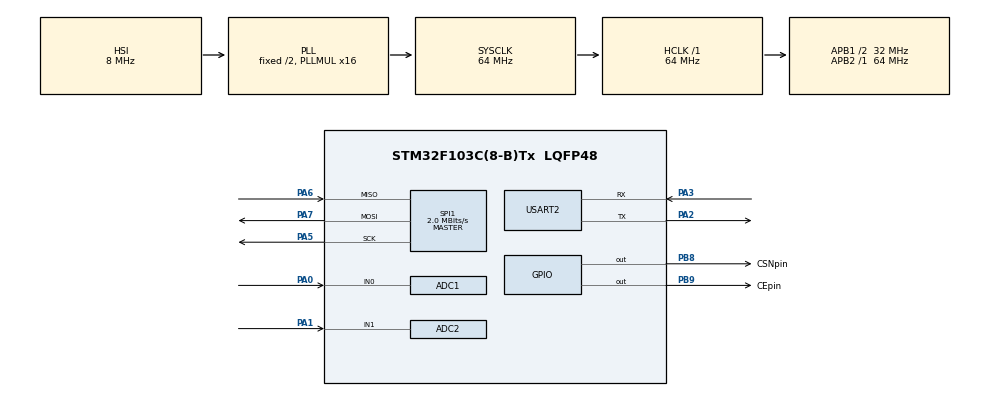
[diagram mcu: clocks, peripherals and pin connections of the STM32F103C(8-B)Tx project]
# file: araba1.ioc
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ADC1.Channel-0\#ChannelRegularConversion=ADC_CHANNEL_0
ADC1.ContinuousConvMode=ENABLE
ADC1.NbrOfConversion=1
ADC1.NbrOfConversionFlag=1
ADC1.Rank-0\#ChannelRegularConversion=1
ADC1.SamplingTime-0\#ChannelRegularConversion=ADC_SAMPLETIME_1CYCLE_5
ADC1.master=1
ADC2.Channel-1\#ChannelRegularConversion=ADC_CHANNEL_1
ADC2.ContinuousConvMode=ENABLE
ADC2.NbrOfConversionFlag=1
ADC2.Rank-1\#ChannelRegularConversion=1
ADC2.SamplingTime-1\#ChannelRegularConversion=ADC_SAMPLETIME_1CYCLE_5
Mcu.Family=STM32F1
Mcu.Name=STM32F103C(8-B)Tx
Mcu.Package=LQFP48
NVIC.PriorityGroup=NVIC_PRIORITYGROUP_4
PA0-WKUP.Signal=ADCx_IN0
PA1.Signal=ADCx_IN1
PA2.Mode=Asynchronous
PA2.Signal=USART2_TX
PA3.Mode=Asynchronous
PA3.Signal=USART2_RX
PA5.Mode=Full_Duplex_Master
PA5.Signal=SPI1_SCK
PA6.Mode=Full_Duplex_Master
PA6.Signal=SPI1_MISO
PA7.Mode=Full_Duplex_Master
PA7.Signal=SPI1_MOSI
PB8.GPIO_Label=CSNpin
PB8.Signal=GPIO_Output
PB9.GPIO_Label=CEpin
PB9.Signal=GPIO_Output
ProjectManager.HeapSize=0x200
ProjectManager.StackSize=0x400
ProjectManager.TargetToolchain=MDK-ARM V5
RCC.ADCPresc=RCC_ADCPCLK2_DIV6
RCC.AHBFreq_Value=64000000
RCC.APB1CLKDivider=RCC_HCLK_DIV2
RCC.APB1Freq_Value=32000000
RCC.APB1TimFreq_Value=64000000
RCC.APB2Freq_Value=64000000
RCC.APB2TimFreq_Value=64000000
RCC.HCLKFreq_Value=64000000
RCC.PLLMUL=RCC_PLL_MUL16
RCC.SYSCLKFreq_VALUE=64000000
RCC.SYSCLKSource=RCC_SYSCLKSOURCE_PLLCLK
RCC.USBFreq_Value=64000000
SH.ADCx_IN0.0=ADC1_IN0,IN0
SH.ADCx_IN1.0=ADC2_IN1,IN1
SPI1.BaudRatePrescaler=SPI_BAUDRATEPRESCALER_32
SPI1.CalculateBaudRate=2.0 MBits/s
SPI1.Direction=SPI_DIRECTION_2LINES
SPI1.Mode=SPI_MODE_MASTER
SPI1.VirtualType=VM_MASTER
USART2.VirtualMode=VM_ASYNC
VP_SYS_VS_ND.Mode=No_Debug
board=custom

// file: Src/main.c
/* USER CODE BEGIN Header */
/**
  ******************************************************************************
  * @file           : main.c
  * @brief          : Main program body
  ******************************************************************************
  * @attention
  *
  * <h2><center>&copy; Copyright (c) 2019 STMicroelectronics.
  * All rights reserved.</center></h2>
  *
  * This software component is licensed by ST under BSD 3-Clause license,
  * the "License"; You may not use this file except in compliance with the
  * License. You may obtain a copy of the License at:
  *                        opensource.org/licenses/BSD-3-Clause
  *
  ******************************************************************************
  */
/* USER CODE END Header */

#include "main.h"

/* USER CODE BEGIN Includes */
#include "MY_NRF24.h"
#include "stm32f1xx_hal.h"
#include <stdio.h>
#include <string.h>

/* USER CODE END Includes */

/* USER CODE BEGIN PD */
 static int16_t pot,potyon;
/* USER CODE END PD */

ADC_HandleTypeDef hadc1;
ADC_HandleTypeDef hadc2;

SPI_HandleTypeDef hspi1;

UART_HandleTypeDef huart2;

void SystemClock_Config(void);
static void MX_GPIO_Init(void);
static void MX_SPI1_Init(void);
static void MX_USART2_UART_Init(void);
static void MX_ADC1_Init(void);
static void MX_ADC2_Init(void);

/* USER CODE BEGIN 0 */
uint64_t TxpipeAddrs = 0x11223344AA;
char myTxData[32],myTx1Data[32]  ;

/* USER CODE END 0 */

int main(void)
{
  /* USER CODE BEGIN 1 */
char data[32];
  /* USER CODE END 1 */

  /* MCU Configuration--------------------------------------------------------*/

  /* Reset of all peripherals, Initializes the Flash interface and the Systick. */
  HAL_Init();

  /* Configure the system clock */
  SystemClock_Config();

  /* Initialize all configured peripherals */
  MX_GPIO_Init();
  MX_SPI1_Init();
  MX_USART2_UART_Init();
  MX_ADC1_Init();
  MX_ADC2_Init();
  /* USER CODE BEGIN 2 */
NRF24_begin(CEpin_GPIO_Port,CSNpin_Pin,CEpin_Pin,hspi1);
nrf24_DebugUART_Init(huart2);

printRadioSettings();
//transmit
NRF24_stopListening();
NRF24_openWritingPipe(TxpipeAddrs);
NRF24_setAutoAck(false);
NRF24_setChannel(52);
NRF24_setPayloadSize(32);
uint64_t saymac;
  /* USER CODE END 2 */

  /* Infinite loop */
  while (1)
  {

    /* USER CODE BEGIN 3 */
		saymac++;
		if(saymac%2==0)
			{

		HAL_ADC_Start(&hadc1);
		pot=HAL_ADC_GetValue(&hadc1);
		sprintf(myTxData,"\f %d \n\r",pot);
		if(NRF24_write(myTxData,32))
		{
			HAL_UART_Transmit(&huart2,(uint8_t*)"Transmit basarili \r\n",strlen("transmit basarili \r\n"),10);
		}
		HAL_Delay(20);
	}
	  else
			{

		HAL_ADC_Start(&hadc2);
		potyon=HAL_ADC_GetValue(&hadc2);
		potyon = -potyon/4;
		sprintf(myTx1Data,"\f %d \n\r",potyon);
		sprintf(data,"\f %d \n\r",potyon);
		if(NRF24_write(myTx1Data,32))
		{
			HAL_UART_Transmit(&huart2,(uint8_t*)data,strlen(data),10);
		}
		HAL_Delay(20);
	}
			if(saymac==4000000)
				saymac=0;
  }
  /* USER CODE END 3 */
}

void SystemClock_Config(void)
{
  RCC_OscInitTypeDef RCC_OscInitStruct = {0};
  RCC_ClkInitTypeDef RCC_ClkInitStruct = {0};
  RCC_PeriphCLKInitTypeDef PeriphClkInit = {0};

  /** Initializes the CPU, AHB and APB busses clocks
  */
  RCC_OscInitStruct.OscillatorType = RCC_OSCILLATORTYPE_HSI;
  RCC_OscInitStruct.HSIState = RCC_HSI_ON;
  RCC_OscInitStruct.HSICalibrationValue = RCC_HSICALIBRATION_DEFAULT;
  RCC_OscInitStruct.PLL.PLLState = RCC_PLL_ON;
  RCC_OscInitStruct.PLL.PLLSource = RCC_PLLSOURCE_HSI_DIV2;
  RCC_OscInitStruct.PLL.PLLMUL = RCC_PLL_MUL16;
  if (HAL_RCC_OscConfig(&RCC_OscInitStruct) != HAL_OK)
  {
    Error_Handler();
  }
  /** Initializes the CPU, AHB and APB busses clocks
  */
  RCC_ClkInitStruct.ClockType = RCC_CLOCKTYPE_HCLK|RCC_CLOCKTYPE_SYSCLK
                              |RCC_CLOCKTYPE_PCLK1|RCC_CLOCKTYPE_PCLK2;
  RCC_ClkInitStruct.SYSCLKSource = RCC_SYSCLKSOURCE_PLLCLK;
  RCC_ClkInitStruct.AHBCLKDivider = RCC_SYSCLK_DIV1;
  RCC_ClkInitStruct.APB1CLKDivider = RCC_HCLK_DIV2;
  RCC_ClkInitStruct.APB2CLKDivider = RCC_HCLK_DIV1;

  if (HAL_RCC_ClockConfig(&RCC_ClkInitStruct, FLASH_LATENCY_2) != HAL_OK)
  {
    Error_Handler();
  }
  PeriphClkInit.PeriphClockSelection = RCC_PERIPHCLK_ADC;
  PeriphClkInit.AdcClockSelection = RCC_ADCPCLK2_DIV6;
  if (HAL_RCCEx_PeriphCLKConfig(&PeriphClkInit) != HAL_OK)
  {
    Error_Handler();
  }
}

static void MX_ADC1_Init(void)
{

  ADC_ChannelConfTypeDef sConfig = {0};

  /** Common config
  */
  hadc1.Instance = ADC1;
  hadc1.Init.ScanConvMode = ADC_SCAN_DISABLE;
  hadc1.Init.ContinuousConvMode = ENABLE;
  hadc1.Init.DiscontinuousConvMode = DISABLE;
  hadc1.Init.ExternalTrigConv = ADC_SOFTWARE_START;
  hadc1.Init.DataAlign = ADC_DATAALIGN_RIGHT;
  hadc1.Init.NbrOfConversion = 1;
  if (HAL_ADC_Init(&hadc1) != HAL_OK)
  {
    Error_Handler();
  }
  /** Configure Regular Channel
  */
  sConfig.Channel = ADC_CHANNEL_0;
  sConfig.Rank = ADC_REGULAR_RANK_1;
  sConfig.SamplingTime = ADC_SAMPLETIME_1CYCLE_5;
  if (HAL_ADC_ConfigChannel(&hadc1, &sConfig) != HAL_OK)
  {
    Error_Handler();
  }

}

static void MX_ADC2_Init(void)
{

  ADC_ChannelConfTypeDef sConfig = {0};

  /** Common config
  */
  hadc2.Instance = ADC2;
  hadc2.Init.ScanConvMode = ADC_SCAN_DISABLE;
  hadc2.Init.ContinuousConvMode = ENABLE;
  hadc2.Init.DiscontinuousConvMode = DISABLE;
  hadc2.Init.ExternalTrigConv = ADC_SOFTWARE_START;
  hadc2.Init.DataAlign = ADC_DATAALIGN_RIGHT;
  hadc2.Init.NbrOfConversion = 1;
  if (HAL_ADC_Init(&hadc2) != HAL_OK)
  {
    Error_Handler();
  }
  /** Configure Regular Channel
  */
  sConfig.Channel = ADC_CHANNEL_1;
  sConfig.Rank = ADC_REGULAR_RANK_1;
  sConfig.SamplingTime = ADC_SAMPLETIME_1CYCLE_5;
  if (HAL_ADC_ConfigChannel(&hadc2, &sConfig) != HAL_OK)
  {
    Error_Handler();
  }

}

static void MX_SPI1_Init(void)
{

  /* SPI1 parameter configuration*/
  hspi1.Instance = SPI1;
  hspi1.Init.Mode = SPI_MODE_MASTER;
  hspi1.Init.Direction = SPI_DIRECTION_2LINES;
  hspi1.Init.DataSize = SPI_DATASIZE_8BIT;
  hspi1.Init.CLKPolarity = SPI_POLARITY_LOW;
  hspi1.Init.CLKPhase = SPI_PHASE_1EDGE;
  hspi1.Init.NSS = SPI_NSS_SOFT;
  hspi1.Init.BaudRatePrescaler = SPI_BAUDRATEPRESCALER_32;
  hspi1.Init.FirstBit = SPI_FIRSTBIT_MSB;
  hspi1.Init.TIMode = SPI_TIMODE_DISABLE;
  hspi1.Init.CRCCalculation = SPI_CRCCALCULATION_DISABLE;
  hspi1.Init.CRCPolynomial = 10;
  if (HAL_SPI_Init(&hspi1) != HAL_OK)
  {
    Error_Handler();
  }

}

static void MX_USART2_UART_Init(void)
{

  huart2.Instance = USART2;
  huart2.Init.BaudRate = 115200;
  huart2.Init.WordLength = UART_WORDLENGTH_8B;
  huart2.Init.StopBits = UART_STOPBITS_1;
  huart2.Init.Parity = UART_PARITY_NONE;
  huart2.Init.Mode = UART_MODE_TX_RX;
  huart2.Init.HwFlowCtl = UART_HWCONTROL_NONE;
  huart2.Init.OverSampling = UART_OVERSAMPLING_16;
  if (HAL_UART_Init(&huart2) != HAL_OK)
  {
    Error_Handler();
  }

}

static void MX_GPIO_Init(void)
{
  GPIO_InitTypeDef GPIO_InitStruct = {0};

  /* GPIO Ports Clock Enable */
  __HAL_RCC_GPIOA_CLK_ENABLE();
  __HAL_RCC_GPIOB_CLK_ENABLE();

  /*Configure GPIO pin Output Level */
  HAL_GPIO_WritePin(GPIOB, CSNpin_Pin|CEpin_Pin, GPIO_PIN_RESET);

  /*Configure GPIO pins : CSNpin_Pin CEpin_Pin */
  GPIO_InitStruct.Pin = CSNpin_Pin|CEpin_Pin;
  GPIO_InitStruct.Mode = GPIO_MODE_OUTPUT_PP;
  GPIO_InitStruct.Pull = GPIO_NOPULL;
  GPIO_InitStruct.Speed = GPIO_SPEED_FREQ_LOW;
  HAL_GPIO_Init(GPIOB, &GPIO_InitStruct);

}

void Error_Handler(void)
{
}

/************************ (C) COPYRIGHT STMicroelectronics *****END OF FILE****/
